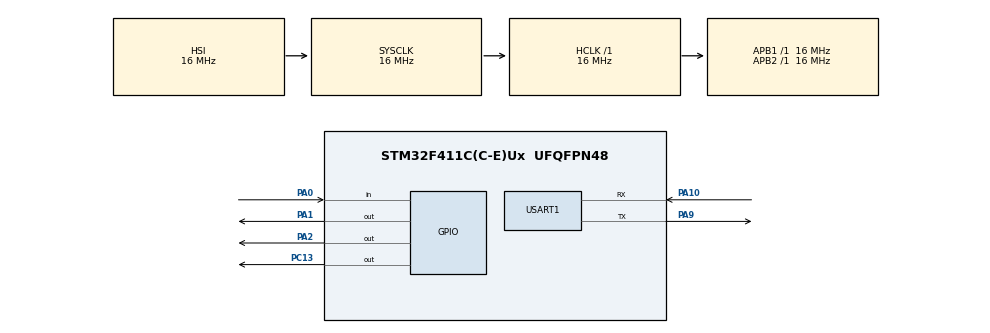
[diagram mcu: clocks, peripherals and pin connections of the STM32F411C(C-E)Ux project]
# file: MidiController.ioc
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Mcu.Family=STM32F4
Mcu.Name=STM32F411C(C-E)Ux
Mcu.Package=UFQFPN48
NVIC.PriorityGroup=NVIC_PRIORITYGROUP_4
PA0-WKUP.Signal=GPIO_Input
PA1.Signal=GPIO_Output
PA10.Mode=Asynchronous
PA10.Signal=USART1_RX
PA13.Mode=Trace_Asynchronous_SW
PA13.Signal=SYS_JTMS-SWDIO
PA14.Mode=Trace_Asynchronous_SW
PA14.Signal=SYS_JTCK-SWCLK
PA2.Signal=GPIO_Output
PA9.Mode=Asynchronous
PA9.Signal=USART1_TX
PB3.Mode=Trace_Asynchronous_SW
PB3.Signal=SYS_JTDO-SWO
PC13-ANTI_TAMP.Signal=GPIO_Output
ProjectManager.HeapSize=0x200
ProjectManager.StackSize=0x400
ProjectManager.TargetToolchain=CMake
RCC.AHBFreq_Value=16000000
RCC.APB1Freq_Value=16000000
RCC.APB2Freq_Value=16000000
RCC.CortexFreq_Value=16000000
RCC.HSE_VALUE=25000000
RCC.HSI_VALUE=16000000
RCC.LSE_VALUE=32768
RCC.SYSCLKFreq_VALUE=16000000
RCC.VCOOutputFreq_Value=192000000
USART1.VirtualMode=VM_ASYNC
board=custom

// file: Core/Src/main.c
/* USER CODE BEGIN Header */
/**
  ******************************************************************************
  * @file           : main.c
  * @brief          : Main program body
  ******************************************************************************
  * @attention
  *
  * Copyright (c) 2026 STMicroelectronics.
  * All rights reserved.
  *
  * This software is licensed under terms that can be found in the LICENSE file
  * in the root directory of this software component.
  * If no LICENSE file comes with this software, it is provided AS-IS.
  *
  ******************************************************************************
  */
/* USER CODE END Header */
#include "main.h"

/* USER CODE BEGIN Includes */
#include <stdio.h>
#include "encoders.h"
#include "version.h"
/* USER CODE END Includes */

/* USER CODE BEGIN PM */
//#define LOG_SHOW_DECODER_BITS  1
/* USER CODE END PM */

UART_HandleTypeDef huart1;

void SystemClock_Config(void);
static void MX_GPIO_Init(void);
static void MX_USART1_UART_Init(void);
/* USER CODE BEGIN PFP */
static uint8_t Shift_Register_Read(void);
/* USER CODE END PFP */

int main(void)
{

  /* MCU Configuration--------------------------------------------------------*/

  /* Reset of all peripherals, Initializes the Flash interface and the Systick. */
  HAL_Init();

  /* Configure the system clock */
  SystemClock_Config();

  /* Initialize all configured peripherals */
  MX_GPIO_Init();
  MX_USART1_UART_Init();
  /* USER CODE BEGIN 2 */
  printf("==============================\r\n");
  printf("MidiController %u.%u.%u.%u\r\n", VERSION_MAJOR, VERSION_MINOR, VERSION_PATCH, VERSION_BUILD);
  printf("==============================\r\n");

  /* USER CODE END 2 */

  /* Infinite loop */
  /* USER CODE BEGIN WHILE */
  uint32_t i = 0;
  int encoderTurnsPrev[ENCODER_COUNT] = {0};
  while (1)
  {
    /* USER CODE BEGIN 3 */

    // Get the encoder states from the shift register
    uint8_t encoderValues = Shift_Register_Read();

    // Pass the encoder states to the Encoders module for processing
    Encoders_Update(encoderValues);

    // Log any encoder turn changes
    for (int j = 0; j < ENCODER_COUNT; j++)
    {
      int turns = Encoders_GetTurns(j);
      if(turns != encoderTurnsPrev[j])
      {
        printf("E:%d T:%d\r\n", j, turns);
        encoderTurnsPrev[j] = turns;
      }
    }

    // Toggle LED on the Black Pill
    if(i % 5000 == 0)
      HAL_GPIO_TogglePin(GPIOC, GPIO_PIN_13);

    ++i;
  /* USER CODE END 3 */
  }
}

void SystemClock_Config(void)
{
  RCC_OscInitTypeDef RCC_OscInitStruct = {0};
  RCC_ClkInitTypeDef RCC_ClkInitStruct = {0};

  /** Configure the main internal regulator output voltage
  */
  __HAL_RCC_PWR_CLK_ENABLE();
  __HAL_PWR_VOLTAGESCALING_CONFIG(PWR_REGULATOR_VOLTAGE_SCALE1);

  /** Initializes the RCC Oscillators according to the specified parameters
  * in the RCC_OscInitTypeDef structure.
  */
  RCC_OscInitStruct.OscillatorType = RCC_OSCILLATORTYPE_HSI;
  RCC_OscInitStruct.HSIState = RCC_HSI_ON;
  RCC_OscInitStruct.HSICalibrationValue = RCC_HSICALIBRATION_DEFAULT;
  RCC_OscInitStruct.PLL.PLLState = RCC_PLL_NONE;
  if (HAL_RCC_OscConfig(&RCC_OscInitStruct) != HAL_OK)
  {
    Error_Handler();
  }

  /** Initializes the CPU, AHB and APB buses clocks
  */
  RCC_ClkInitStruct.ClockType = RCC_CLOCKTYPE_HCLK|RCC_CLOCKTYPE_SYSCLK
                              |RCC_CLOCKTYPE_PCLK1|RCC_CLOCKTYPE_PCLK2;
  RCC_ClkInitStruct.SYSCLKSource = RCC_SYSCLKSOURCE_HSI;
  RCC_ClkInitStruct.AHBCLKDivider = RCC_SYSCLK_DIV1;
  RCC_ClkInitStruct.APB1CLKDivider = RCC_HCLK_DIV1;
  RCC_ClkInitStruct.APB2CLKDivider = RCC_HCLK_DIV1;

  if (HAL_RCC_ClockConfig(&RCC_ClkInitStruct, FLASH_LATENCY_0) != HAL_OK)
  {
    Error_Handler();
  }
}

static void MX_USART1_UART_Init(void)
{

  huart1.Instance = USART1;
  huart1.Init.BaudRate = 115200;
  huart1.Init.WordLength = UART_WORDLENGTH_8B;
  huart1.Init.StopBits = UART_STOPBITS_1;
  huart1.Init.Parity = UART_PARITY_NONE;
  huart1.Init.Mode = UART_MODE_TX_RX;
  huart1.Init.HwFlowCtl = UART_HWCONTROL_NONE;
  huart1.Init.OverSampling = UART_OVERSAMPLING_16;
  if (HAL_UART_Init(&huart1) != HAL_OK)
  {
    Error_Handler();
  }

}

static void MX_GPIO_Init(void)
{
  GPIO_InitTypeDef GPIO_InitStruct = {0};

  /* GPIO Ports Clock Enable */
  __HAL_RCC_GPIOC_CLK_ENABLE();
  __HAL_RCC_GPIOA_CLK_ENABLE();
  __HAL_RCC_GPIOB_CLK_ENABLE();

  /*Configure GPIO pin Output Level */
  HAL_GPIO_WritePin(GPIOC, GPIO_PIN_13, GPIO_PIN_RESET);

  /*Configure GPIO pin Output Level */
  HAL_GPIO_WritePin(GPIOA, GPIO_PIN_1|GPIO_PIN_2, GPIO_PIN_RESET);

  /*Configure GPIO pin : PC13 */
  GPIO_InitStruct.Pin = GPIO_PIN_13;
  GPIO_InitStruct.Mode = GPIO_MODE_OUTPUT_PP;
  GPIO_InitStruct.Pull = GPIO_NOPULL;
  GPIO_InitStruct.Speed = GPIO_SPEED_FREQ_LOW;
  HAL_GPIO_Init(GPIOC, &GPIO_InitStruct);

  /*Configure GPIO pin : PA0 */
  GPIO_InitStruct.Pin = GPIO_PIN_0;
  GPIO_InitStruct.Mode = GPIO_MODE_INPUT;
  GPIO_InitStruct.Pull = GPIO_NOPULL;
  HAL_GPIO_Init(GPIOA, &GPIO_InitStruct);

  /*Configure GPIO pins : PA1 PA2 */
  GPIO_InitStruct.Pin = GPIO_PIN_1|GPIO_PIN_2;
  GPIO_InitStruct.Mode = GPIO_MODE_OUTPUT_PP;
  GPIO_InitStruct.Pull = GPIO_NOPULL;
  GPIO_InitStruct.Speed = GPIO_SPEED_FREQ_LOW;
  HAL_GPIO_Init(GPIOA, &GPIO_InitStruct);

}

/* USER CODE BEGIN 4 */

/**
  * @brief  Retargets printf to USART1.
  */
int __io_putchar(int ch)
{
  uint8_t c = (uint8_t)ch;
  HAL_UART_Transmit(&huart1, &c, 1, HAL_MAX_DELAY);
  return ch;
}

/**
  * @brief  Latches the SN74Shift_Register's parallel inputs and shifts out 8 bits via QH.
  * @retval Parallel input state, MSB (H) first.
  */
static uint8_t Shift_Register_Read(void)
{
  uint8_t value = 0;
#ifdef LOG_SHOW_DECODER_BITS
  static uint8_t prevValue = 0;
#endif

  /* Pulse SH/LD low to load the parallel inputs, then high to enable shifting */
  HAL_GPIO_WritePin(Shift_Register_SHLD_GPIO_Port, Shift_Register_SHLD_Pin, GPIO_PIN_RESET);
  HAL_GPIO_WritePin(Shift_Register_SHLD_GPIO_Port, Shift_Register_SHLD_Pin, GPIO_PIN_SET);

  for (int bit = 0; bit < 8; bit++)
  {
    value <<= 1;
    if (HAL_GPIO_ReadPin(Shift_Register_QH_GPIO_Port, Shift_Register_QH_Pin) == GPIO_PIN_SET)
    {
      value |= 0x01;
    }

    /* Rising edge on CLK shifts the next bit into SER */
    HAL_GPIO_WritePin(Shift_Register_CLK_GPIO_Port, Shift_Register_CLK_Pin, GPIO_PIN_SET);
    HAL_GPIO_WritePin(Shift_Register_CLK_GPIO_Port, Shift_Register_CLK_Pin, GPIO_PIN_RESET);
  }

#ifdef LOG_SHOW_DECODER_BITS
    if (value != prevValue)
    {
        for(uint8_t i = 0; i < 8; ++i)
        {
            printf("%d", (value >> (7 - i)) & 0x01);
        }
        printf("\r\n");
    }
    prevValue = value;
#endif

  return value;
}

/* USER CODE END 4 */

void Error_Handler(void)
{
  __disable_irq();
  while (1)
  {
  }
}
